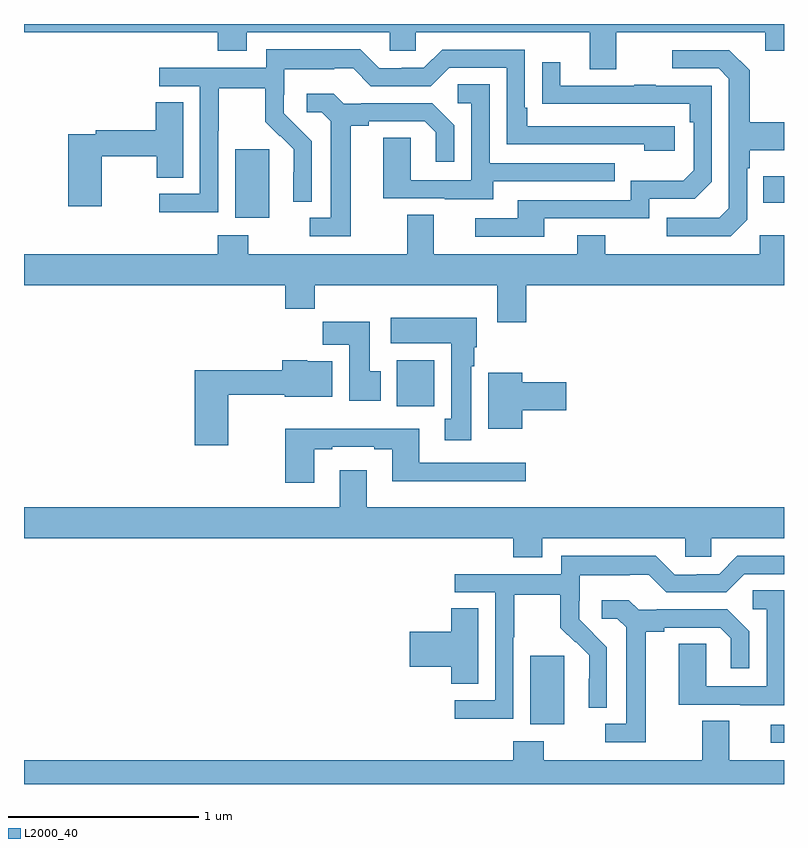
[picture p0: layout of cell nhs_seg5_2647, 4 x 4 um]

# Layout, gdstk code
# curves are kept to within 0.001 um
import gdstk
lib = gdstk.Library(unit=1e-6, precision=1e-09)
def R(c, l, rs):  # rectangles x0, y0, x1, y1
    for r in rs: c.add(gdstk.rectangle(r[:2], r[2:], *l))
def P(c, l, *ps):  # polygons
    for p in ps: c.add(gdstk.Polygon(p, *l))
L2000_40 = (2000, 40)

nhs_seg5_2647 = lib.new_cell('nhs_seg5_2647')
R(nhs_seg5_2647, L2000_40, [(268.929,857.016,269,857.112), (267.665,857.114,267.844,857.475), (266.963,858.788,267.16,859.03), (266.111,859.778,266.29,860.139), (268.891,859.859,269,859.999)])
P(nhs_seg5_2647, L2000_40, [(268.117,860.756),(268.901,860.756),(268.901,860.657),(269,860.657),(269,860.799),(265,860.799),(265,860.756),(266.021,860.756),(266.021,860.657),(266.173,860.657),(266.173,860.756),(266.925,860.756),(266.925,860.658),(267.063,860.658),(267.063,860.756),(267.977,860.756),(267.977,860.562),(268.117,860.562)],
  [(266.022,860.236),(266.025,860.236),(266.025,860.46),(266.269,860.46),(266.269,860.285),(266.346,860.208),(266.349,860.211),(266.42,860.141),(266.42,860.018),(266.418,860.018),(266.418,859.864),(266.514,859.864),(266.514,860.182),(266.368,860.33),(266.368,860.427),(266.37,860.427),(266.37,860.561),(266.633,860.561),(266.633,860.565),(266.733,860.565),(266.826,860.472),(267.141,860.472),(267.237,860.568),(267.54,860.568),(267.54,860.166),(268.265,860.166),(268.265,860.132),(268.426,860.132),(268.426,860.262),(267.649,860.262),(267.649,860.359),(267.636,860.359),(267.636,860.664),(267.201,860.664),(267.105,860.568),(266.987,860.568),(266.987,860.565),(266.871,860.565),(266.771,860.665),(266.274,860.665),(266.274,860.568),(265.713,860.568),(265.713,860.472),(265.926,860.472),(265.926,859.905),(265.713,859.905),(265.713,859.807),(266.022,859.807)],
  [(268.806,859.77),(268.806,860.039),(268.819,860.039),(268.819,860.135),(269,860.135),(269,860.283),(268.819,860.283),(268.819,860.555),(268.713,860.661),(268.413,860.661),(268.413,860.565),(268.656,860.565),(268.71,860.511),(268.71,859.83),(268.659,859.779),(268.383,859.779),(268.383,859.683),(268.719,859.683)],
  [(267.739,859.776),(268.29,859.776),(268.29,859.878),(268.53,859.878),(268.62,859.968),(268.62,860.475),(268.325,860.475),(268.325,860.48),(268.213,860.48),(268.213,860.475),(267.823,860.475),(267.823,860.599),(267.727,860.599),(267.727,860.38),(268.504,860.379),(268.504,860.282),(268.524,860.282),(268.524,860.028),(268.471,859.975),(268.194,859.975),(268.194,859.872),(267.599,859.872),(267.599,859.776),(267.375,859.776),(267.375,859.68),(267.739,859.68)],
  [(267.469,859.971),(268.109,859.971),(268.109,860.067),(267.45,860.067),(267.45,860.483),(267.282,860.483),(267.282,860.382),(267.354,860.382),(267.354,859.977),(267.036,859.977),(267.036,860.201),(266.891,860.201),(266.891,859.881),(267.215,859.881),(267.215,859.877),(267.469,859.877)],
  [(266.719,860.264),(266.815,860.264),(266.815,860.286),(267.11,860.286),(267.167,860.229),(267.167,860.073),(267.264,860.073),(267.264,860.266),(267.148,860.382),(266.776,860.382),(266.776,860.379),(266.682,860.379),(266.63,860.431),(266.487,860.431),(266.487,860.334),(266.568,860.334),(266.615,860.287),(266.615,859.779),(266.505,859.779),(266.505,859.683),(266.719,859.683)],
  [(265.41,860.104),(265.699,860.104),(265.699,859.99),(265.837,859.99),(265.837,860.387),(265.694,860.387),(265.694,860.24),(265.378,860.24),(265.378,860.22),(265.232,860.22),(265.232,859.839),(265.41,859.839)],
  [(267.644,859.424),(269,859.424),(269,859.687),(268.872,859.687),(268.872,859.588),(268.059,859.588),(268.059,859.687),(267.911,859.687),(267.911,859.588),(267.157,859.588),(267.157,859.796),(267.017,859.796),(267.017,859.588),(266.181,859.588),(266.181,859.687),(266.021,859.687),(266.021,859.588),(265,859.588),(265,859.424),(266.375,859.424),(266.375,859.3),(266.531,859.3),(266.531,859.424),(267.491,859.424),(267.491,859.23),(267.644,859.23)],
  [(267.355,858.998),(267.37,858.998),(267.37,859.098),(267.382,859.098),(267.382,859.252),(266.931,859.252),(266.931,859.118),(267.248,859.118),(267.248,858.722),(267.215,858.722),(267.215,858.609),(267.355,858.609)],
  [(266.878,858.972),(266.821,858.972),(266.821,859.231),(266.572,859.231),(266.572,859.112),(266.711,859.112),(266.711,858.816),(266.878,858.816)],
  [(266.076,858.847),(266.372,858.847),(266.372,858.836),(266.623,858.836),(266.623,859.024),(266.49,859.024),(266.49,859.03),(266.36,859.03),(266.36,858.976),(265.898,858.976),(265.898,858.582),(266.076,858.582)],
  [(267.622,858.767),(267.853,858.767),(267.853,858.914),(267.622,858.914),(267.622,858.964),(267.443,858.964),(267.443,858.668),(267.622,858.668)],
  [(266.527,858.561),(266.623,858.561),(266.623,858.573),(266.843,858.573),(266.843,858.561),(266.939,858.561),(266.939,858.392),(267.64,858.392),(267.64,858.489),(267.079,858.489),(267.079,858.67),(266.375,858.67),(266.375,858.384),(266.527,858.384)],
  [(266.663,858.451),(266.663,858.256),(265,858.256),(265,858.092),(267.575,858.092),(267.575,857.993),(267.727,857.993),(267.727,858.092),(268.479,858.092),(268.479,857.994),(268.617,857.994),(268.617,858.092),(269,858.092),(269,858.256),(266.803,858.256),(266.803,858.451)],
  [(267.576,857.572),(267.579,857.572),(267.579,857.796),(267.823,857.796),(267.823,857.621),(267.9,857.544),(267.903,857.547),(267.974,857.477),(267.974,857.354),(267.972,857.354),(267.972,857.2),(268.068,857.2),(268.068,857.518),(267.922,857.666),(267.922,857.763),(267.924,857.763),(267.924,857.897),(268.187,857.897),(268.187,857.901),(268.287,857.901),(268.38,857.808),(268.695,857.808),(268.791,857.904),(269,857.904),(269,858),(268.755,858),(268.659,857.904),(268.541,857.904),(268.541,857.901),(268.425,857.901),(268.325,858.001),(267.828,858.001),(267.828,857.904),(267.267,857.904),(267.267,857.808),(267.48,857.808),(267.48,857.241),(267.267,857.241),(267.267,857.143),(267.576,857.143)],
  [(269,857.819),(268.836,857.819),(268.836,857.718),(268.908,857.718),(268.908,857.313),(268.59,857.313),(268.59,857.537),(268.445,857.537),(268.445,857.217),(268.769,857.217),(268.769,857.213),(269,857.213)],
  [(268.273,857.6),(268.369,857.6),(268.369,857.622),(268.664,857.622),(268.721,857.565),(268.721,857.409),(268.818,857.409),(268.818,857.602),(268.702,857.718),(268.33,857.718),(268.33,857.715),(268.236,857.715),(268.184,857.767),(268.041,857.767),(268.041,857.67),(268.122,857.67),(268.169,857.623),(268.169,857.115),(268.059,857.115),(268.059,857.019),(268.273,857.019)],
  [(267.391,857.723),(267.248,857.723),(267.248,857.6),(267.03,857.6),(267.03,857.417),(267.248,857.417),(267.248,857.326),(267.391,857.326)],
  [(265,856.799),(269,856.799),(269,856.924),(268.711,856.924),(268.711,857.132),(268.571,857.132),(268.571,856.924),(267.735,856.924),(267.735,857.023),(267.575,857.023),(267.575,856.924),(265,856.924)])

lib.write_gds('nhs_seg5_2647.gds')
